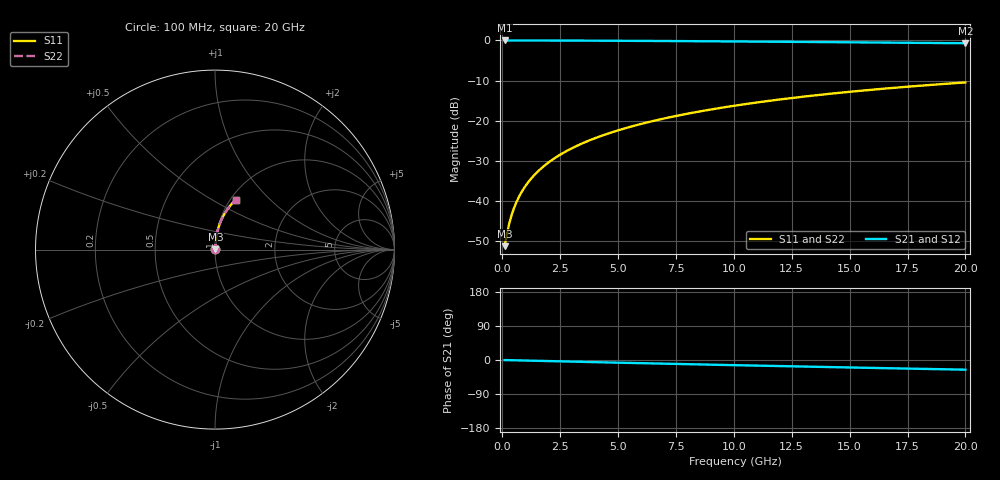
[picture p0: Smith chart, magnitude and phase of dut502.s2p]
! Touchstone file exported from HFSS 2024.1.0
!  File:  C:/UserFiles/LocalFiles/RDL_TSV_Batchsim/temp_RDL_top_502_1779679109.aedt
!  Generated:  11:20:41 AM May 25, 2026
!  Design:  RDL_top
!  Project:  temp_RDL_top_502_1779679109
!  Setup:  Setup1
!  Solution:  Sweep
! Variables:
!  dtsv = 10.80580581um
!  hbump = 3um
!  htsv = 86.93um
!  ldown = 100um
!  lrdl = 306.04um
!  p = 40
!  p1 = 48.69um
!  rhole = 1um
!  t = 450um
!  tdown = 3.915915916um
!  trdl = 3.39um
!  wdown = 15.38538539um
!  wrdl = 15.37um
# GHz S MA R 50.000000
! Terminal data exported
! Port[1] = Box2_T1
! Port[2] = Box2_T2
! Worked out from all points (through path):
!   200 points, 100 MHz to 20 GHz, reference 50 ohm
!   highest |S21| = -0.02 dB at 100 MHz (marker M1); lowest = -0.7 dB at 20 GHz (marker M2)
!   group delay of S21, straight-line fit = 3.53 ps
!   lowest |S11| = -51.2 dB at 100 MHz (marker M3), VSWR 1.01, Z = 50.2 + j0.159 ohm
!   |S11| at or under -10 dB: start of sweep to end of sweep
!   |S22| runs from -51.2 to -10.5 dB; largest |S21 - S12| = 3.4e-15
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0.1  0.002748 35.2  0.9978 -0.1  0.9978 -0.1  0.002748 35.2
! Gamma 0 0 0 0
! Port Impedance 50 0 50 0
0.2  0.003898 53.9  0.9977 -0.3  0.9977 -0.3  0.003898 53.9
0.3  0.005253 63.2  0.9976 -0.4  0.9976 -0.4  0.005253 63.2
0.4  0.00667 68.6  0.9975 -0.6  0.9975 -0.6  0.00667 68.6
0.5  0.008109 72.0  0.9975 -0.7  0.9975 -0.7  0.008109 72.0
0.6  0.009558 74.4  0.9974 -0.9  0.9974 -0.9  0.009558 74.4
0.8  0.01248 77.6  0.9972 -1.2  0.9972 -1.2  0.01248 77.6
1.1  0.01689 80.3  0.9969 -1.6  0.9969 -1.6  0.01689 80.3
1.5  0.02283 82.2  0.9965 -2.2  0.9965 -2.2  0.02283 82.2
1.8  0.02731 83.0  0.9961 -2.6  0.9961 -2.6  0.02731 83.0
2.1  0.0318 83.5  0.9957 -3.0  0.9957 -3.0  0.0318 83.5
2.7  0.04084 84.0  0.9947 -3.9  0.9947 -3.9  0.04084 84.0
3.5  0.05296 84.2  0.993 -5.0  0.993 -5.0  0.05296 84.2
4.2  0.06364 84.0  0.9912 -6.0  0.9912 -6.0  0.06364 84.0
5  0.07591 83.6  0.9889 -7.1  0.9889 -7.1  0.07591 83.6
5.9  0.0898 83.0  0.986 -8.3  0.986 -8.3  0.0898 83.0
6.8  0.1037 82.3  0.9828 -9.5  0.9828 -9.5  0.1037 82.3
8.3  0.127 80.9  0.977 -11.4  0.977 -11.4  0.127 80.9
10.1  0.155 79.0  0.9695 -13.7  0.9695 -13.7  0.1549 79.0
13.4  0.2053 75.2  0.9546 -17.8  0.9546 -17.8  0.2053 75.2
16.7  0.2538 71.3  0.9385 -21.7  0.9385 -21.7  0.2538 71.3
20  0.2998 67.5  0.9215 -25.5  0.9215 -25.5  0.2997 67.5
